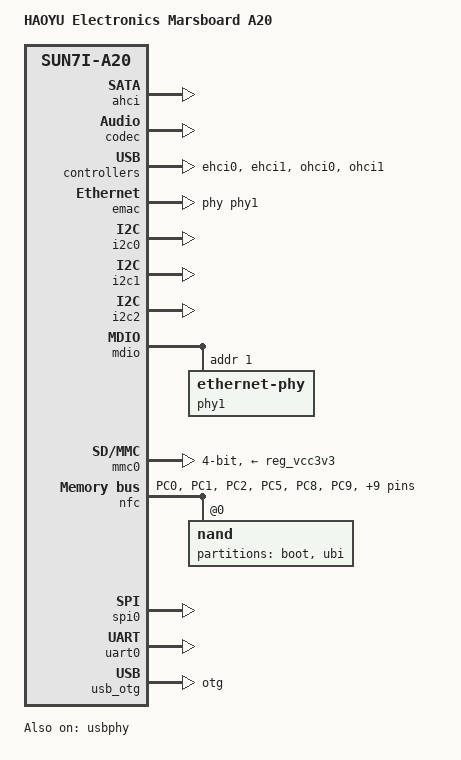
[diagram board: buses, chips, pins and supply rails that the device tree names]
/*
 * Device tree for model "HAOYU Electronics Marsboard A20"
 */

/dts-v1/;
#include "sun7i-a20.dtsi"
#include "sunxi-common-regulators.dtsi"
#if 1	/* for SUN4I_PINCTRL_10_MA, SUN4I_PINCTRL_NO_PULL */
#include "dt-bindings/pinctrl/sun4i-a10.h"
#endif

/ {
	model = "HAOYU Electronics Marsboard A20";
	compatible = "haoyu,a20-marsboard", "allwinner,sun7i-a20";

	#address-cells = <1>;
	#size-cells = <1>;

	chosen {
		stdout-path = "serial0:115200n8";
	};

	aliases {
		serial0 = &uart0;
	};

	memory { device_type = "memory"; reg = <0 0>; };
};

&ahci {
	status = "okay";
};

&codec {
	status = "okay";
};

&ehci0 {
	status = "okay";
};

&ehci1 {
	status = "okay";
};

&emac_sram {
	status = "okay";
};

#if 1	/* a10-marsboard (when 1) vs a20-marsboard (when 0) */
&emac {
	phy = <&phy1>;
	status = "okay";
};
#endif

&i2c0 {
	status = "okay";
};

&i2c1 {
	status = "okay";
};

&i2c2 {
	status = "okay";
};

#if 1	/* a10-marsboard (when 1) vs a20-marsboard (when 0) */
&mdio {
	status = "okay";

#if 1	/* a10-marsboard verbatim has 'phy1' here (and in 'emac') */
	phy1: ethernet-phy@1 {
		reg = <1>;
	};
#else	/* kernel dtb uses phy0 (and phy1 for gmac) */
	/* Cubieboard2 also has (only) gmac, using phy1 */
	phy0: ethernet-phy@0 {
		reg = <0>;
	};
#endif
};
#else	/* 'gmac' presence matches Cubieboard2 */
	/* NB. phy1 use conflicts with mdio as per a10-marsboard */
&gmac {
	pinctrl-names = "default";
	pinctrl-0 = <&gmac_pins_mii_a>;	/* kernel: gmac_mii_pins */
	phy = <&phy1>;
	phy-mode = "mii";
	status = "okay";

	phy1: ethernet-phy@1 {
		reg = <1>;
	};
};
#endif

&mmc0 {
#if 0
// sun4i-a10.dts creates mmc0_pins for "PF0" to "PF5"
// sun7i-a20.dts creates mmc0_pins_a for "PF0" to "PF5"
// Cubieboard2 and A20-Marsboard has "PH1" for cd-gpio/s
// Cubieboard2 also declares &pinctrl-{names|0}
	pinctrl-names = "default";
	pinctrl-0 = <&mmc0_pins_a>;
#endif
	vmmc-supply = <&reg_vcc3v3>;
	bus-width = <4>;
#if 0	/* ?! because "MMC: no card present" */
	/* does not cause issues in kernel */
	cd-gpios = <&pio 7 1 GPIO_ACTIVE_LOW>; /* PH1 */
#endif
	status = "okay";
};

#if 1	/* https://github.com/armbian/sunxi-DT-overlays/blob/e4dfea8304d66cb3403e5e1b73d2f346349124ec/sun7i-a20/sun7i-a20-nand.dts */
//	fragment@1 {
&nfc {
//		target = <&nfc>;
//		__overlay__ {
#if 0	/* mismatch with https://linux-sunxi.org/Mainline_NAND_Howto */
			#address-cells = <1>;
			#size-cells = <0>;
#endif
			pinctrl-names = "default";
			pinctrl-0 = <&nand_pins_a>, <&nand_cs0_pins_a>, <&nand_rb0_pins_a>;
			status = "okay";

			nand@0 {
#if 1	/* alternative recommended by https://linux-sunxi.org/Mainline_NAND_Howto */
				#address-cells = <2>;
				#size-cells = <2>;
#endif
				reg = <0>;
				allwinner,rb = <0>;
				nand-ecc-mode = "hw";
#if 1	/* also in https://linux-sunxi.org/Mainline_NAND_Howto */
				nand-rnd-mode = "hw";
#endif
				nand-on-flash-bbt;

				partitions {
					compatible = "fixed-partitions";
					#address-cells = <2>;
					#size-cells = <2>;

/* style as per https://linux-sunxi.org/Mainline_NAND_Howto */
					partition@000000000 {
						label = "boot";
						reg = /bits/ 64 <0x000000000 0x002000000>;
						read-only;
					};
					partition@002000000 {
						label = "ubi";
						reg = /bits/ 64 <0x002000000 0x1fe000000>;
					};
				};
			};
//		};	/* armbian overlay */
};
//	};		/* armbian fragment */
#endif

&ohci0 {
	status = "okay";
};

&ohci1 {
	status = "okay";
};

&otg_sram {
	status = "okay";
};

&pio {
#if 1	/* https://github.com/armbian/sunxi-DT-overlays/blob/e4dfea8304d66cb3403e5e1b73d2f346349124ec/sun7i-a20/sun7i-a20-nand.dts */
//	fragment@0 {
//		target = <&pio>;
//		__overlay__ {
			nand_pins_a: nand_pins@0 {
				pins = "PC0", "PC1", "PC2",
						"PC5", "PC8", "PC9", "PC10",
						"PC11", "PC12", "PC13", "PC14",
						"PC15", "PC16";
				function = "nand0";
#if 1	/* also in https://linux-sunxi.org/Mainline_NAND_Howto */
				allwinner,drive = <SUN4I_PINCTRL_10_MA>;
				allwinner,pull = <SUN4I_PINCTRL_NO_PULL>;
#endif
			};

			nand_cs0_pins_a: nand_cs@0 {
				pins = "PC4";
				function = "nand0";
#if 1	/* also in https://linux-sunxi.org/Mainline_NAND_Howto */
				allwinner,drive = <SUN4I_PINCTRL_10_MA>;
				allwinner,pull = <SUN4I_PINCTRL_NO_PULL>;
#endif
			};

			nand_cs1_pins_a: nand_cs@1 {
				pins = "PC3";
				function = "nand0";
#if 1	/* also in https://linux-sunxi.org/Mainline_NAND_Howto */
				allwinner,drive = <SUN4I_PINCTRL_10_MA>;
				allwinner,pull = <SUN4I_PINCTRL_NO_PULL>;
#endif
			};

			nand_cs2_pins_a: nand_cs@2 {
				pins = "PC17";
				function = "nand0";
#if 1	/* also in https://linux-sunxi.org/Mainline_NAND_Howto */
				allwinner,drive = <SUN4I_PINCTRL_10_MA>;
				allwinner,pull = <SUN4I_PINCTRL_NO_PULL>;
#endif
			};

			nand_cs3_pins_a: nand_cs@3 {
				pins = "PC18";
				function = "nand0";
#if 1	/* also in https://linux-sunxi.org/Mainline_NAND_Howto */
				allwinner,drive = <SUN4I_PINCTRL_10_MA>;
				allwinner,pull = <SUN4I_PINCTRL_NO_PULL>;
#endif
			};

			nand_rb0_pins_a: nand_rb@0 {
				pins = "PC6";
				function = "nand0";
#if 1	/* also in https://linux-sunxi.org/Mainline_NAND_Howto */
				allwinner,drive = <SUN4I_PINCTRL_10_MA>;
				allwinner,pull = <SUN4I_PINCTRL_NO_PULL>;
#endif
			};

			nand_rb1_pins_a: nand_rb@1 {
				pins = "PC7";
				function = "nand0";
#if 1	/* also in https://linux-sunxi.org/Mainline_NAND_Howto */
				allwinner,drive = <SUN4I_PINCTRL_10_MA>;
				allwinner,pull = <SUN4I_PINCTRL_NO_PULL>;
#endif
			};
//		};
//	};
#endif

	usb0_id_detect_pin: usb0-id-detect-pin {
		pins = "PH4";
		function = "gpio_in";
		bias-pull-up;
	};
};

&reg_usb1_vbus {
	status = "okay";
};

&reg_usb2_vbus {
	status = "okay";
};

&spi0 {
	pinctrl-names = "default";
#if 0	/* prior to 0cc47a8ead a20 dts/i sync to Linux 5.1-rc2 */
	pinctrl-0 = <&spi0_pins_a>,	/* kernel: spi0_pi_pins */
		    <&spi0_cs0_pins_a>;	/* kernel: spi0_cs0_pi_pin */
#else
	pinctrl-0 = <&spi0_pi_pins>,
		    <&spi0_cs0_pi_pin>;
#endif
	status = "okay";
};

&uart0 {
	pinctrl-names = "default";
#if 0	/* prior to 0cc47a8ead a20 dts/i sync to Linux 5.1-rc2 */
	pinctrl-0 = <&uart0_pins_a>;	/* kernel: uart0_pb_pins */
#else
	pinctrl-0 = <&uart0_pb_pins>;
#endif
	status = "okay";
};

&usb_otg {
	dr_mode = "otg";
	status = "okay";
};

&usbphy {
	pinctrl-names = "default";
	pinctrl-0 = <&usb0_id_detect_pin>;
	usb0_id_det-gpio = <&pio 7 4 GPIO_ACTIVE_HIGH>; /* PH4 */
	usb1_vbus-supply = <&reg_usb1_vbus>;
	usb2_vbus-supply = <&reg_usb2_vbus>;
	status = "okay";
};
